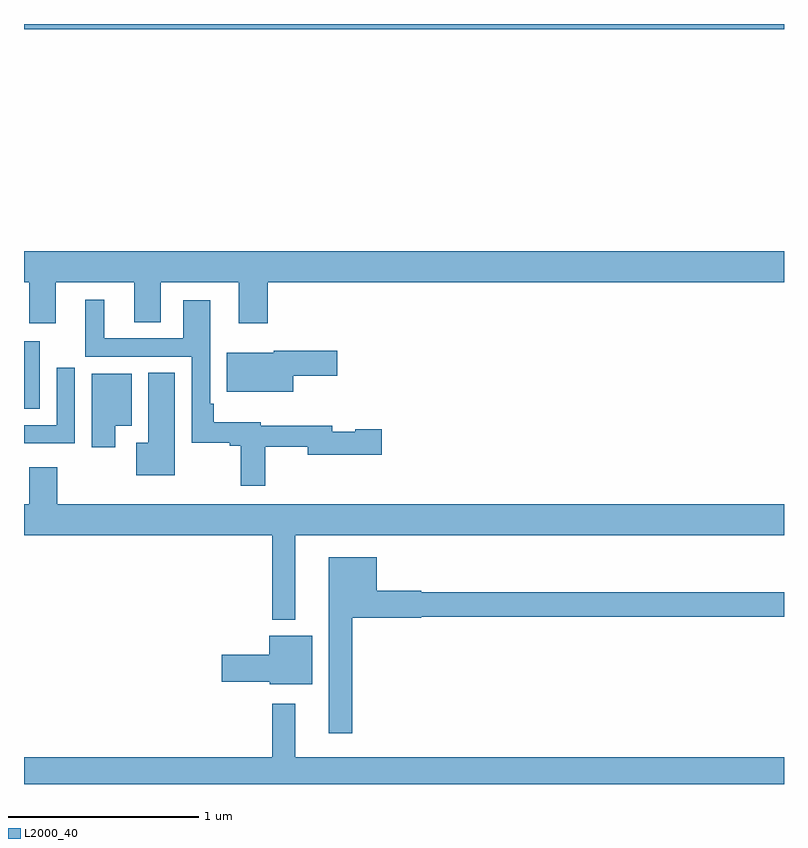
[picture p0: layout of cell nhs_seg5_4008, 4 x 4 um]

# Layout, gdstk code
import gdstk
lib = gdstk.Library(unit=1e-6, precision=1e-09)
def R(c, l, rs):  # rectangles x0, y0, x1, y1
    for r in rs: c.add(gdstk.rectangle(r[:2], r[2:], *l))
def P(c, l, *ps):  # polygons
    for p in ps: c.add(gdstk.Polygon(p, *l))
L2000_40 = (2000, 40)

nhs_seg5_4008 = lib.new_cell('nhs_seg5_4008')
R(nhs_seg5_4008, L2000_40, [(347,842.773,347.083,843.13), (347,844.772,351,844.799)])
P(nhs_seg5_4008, L2000_40, [(347.167,843.44),(347.579,843.44),(347.579,843.229),(347.719,843.229),(347.719,843.44),(348.131,843.44),(348.131,843.225),(348.284,843.225),(348.284,843.44),(351,843.44),(351,843.604),(347,843.604),(347,843.44),(347.027,843.44),(347.027,843.225),(347.167,843.225)],
  [(348.269,842.574),(348.494,842.574),(348.494,842.531),(348.883,842.531),(348.883,842.666),(348.744,842.666),(348.744,842.653),(348.622,842.653),(348.622,842.684),(348.246,842.684),(348.246,842.704),(347.999,842.704),(347.999,842.8),(347.979,842.8),(347.979,843.346),(347.837,843.346),(347.837,843.144),(347.422,843.144),(347.422,843.349),(347.323,843.349),(347.323,843.048),(347.883,843.048),(347.883,842.595),(348.084,842.595),(348.084,842.578),(348.141,842.578),(348.141,842.37),(348.269,842.37)],
  [(348.418,842.948),(348.649,842.948),(348.649,843.078),(348.314,843.078),(348.314,843.07),(348.068,843.07),(348.068,842.864),(348.418,842.864)],
  [(347.268,842.989),(347.172,842.989),(347.172,842.688),(347,842.688),(347,842.592),(347.268,842.592)],
  [(347.794,842.963),(347.654,842.963),(347.654,842.596),(347.591,842.596),(347.591,842.423),(347.794,842.423)],
  [(347.479,842.684),(347.566,842.684),(347.566,842.959),(347.357,842.959),(347.357,842.571),(347.479,842.571)],
  [(348.427,842.108),(351,842.108),(351,842.272),(347.175,842.272),(347.175,842.467),(347.027,842.467),(347.027,842.272),(347,842.272),(347,842.108),(348.306,842.108),(348.306,841.664),(348.427,841.664)],
  [(348.727,841.673),(349.092,841.673),(349.092,841.678),(351,841.678),(351,841.807),(349.092,841.807),(349.092,841.815),(348.856,841.815),(348.856,841.993),(348.605,841.993),(348.605,841.065),(348.727,841.065)],
  [(348.517,841.579),(348.29,841.579),(348.29,841.478),(348.042,841.478),(348.042,841.336),(348.294,841.336),(348.294,841.325),(348.517,841.325)],
  [(347,840.799),(351,840.799),(351,840.94),(348.427,840.94),(348.427,841.222),(348.306,841.222),(348.306,840.94),(347,840.94)])

lib.write_gds('nhs_seg5_4008.gds')
